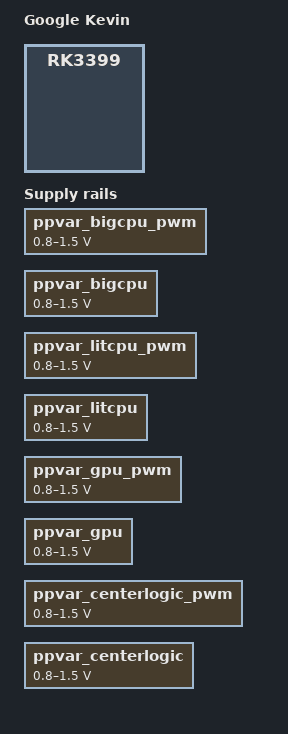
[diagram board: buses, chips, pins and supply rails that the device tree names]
// SPDX-License-Identifier: (GPL-2.0+ OR MIT)
/*
 * Google Gru-Kevin Rev 5 board device tree source
 *
 * Copyright 2016 Google, Inc
 */

/dts-v1/;
/*
 * Include the standard Kevin device tree for simplicity instead of
 * trying to split out the common parts.
 */
#include "rk3399-gru-kevin.dts"

/ {
	model = "Google Kevin";
	compatible = "google,kevin-rev5", "google,kevin",
		     "google,gru", "rockchip,rk3399";
};

/* Adjust DVFS rails back to wider range */

&ppvar_bigcpu_pwm {
	regulator-min-microvolt = <800000>;
	regulator-max-microvolt = <1500000>;
};

&ppvar_bigcpu {
	regulator-min-microvolt = <800000>;
	regulator-max-microvolt = <1500000>;
	ctrl-voltage-range = <800000 1500000>;
};

&ppvar_litcpu_pwm {
	regulator-min-microvolt = <800000>;
	regulator-max-microvolt = <1500000>;
};

&ppvar_litcpu {
	regulator-min-microvolt = <800000>;
	regulator-max-microvolt = <1500000>;
	ctrl-voltage-range = <800000 1500000>;
};

&ppvar_gpu_pwm {
	regulator-min-microvolt = <800000>;
	regulator-max-microvolt = <1500000>;
};

&ppvar_gpu {
	regulator-min-microvolt = <800000>;
	regulator-max-microvolt = <1500000>;
	ctrl-voltage-range = <800000 1500000>;
};

&ppvar_centerlogic_pwm {
	regulator-min-microvolt = <800000>;
	regulator-max-microvolt = <1500000>;
};

&ppvar_centerlogic {
	regulator-min-microvolt = <800000>;
	regulator-max-microvolt = <1500000>;
	ctrl-voltage-range = <800000 1500000>;
};
